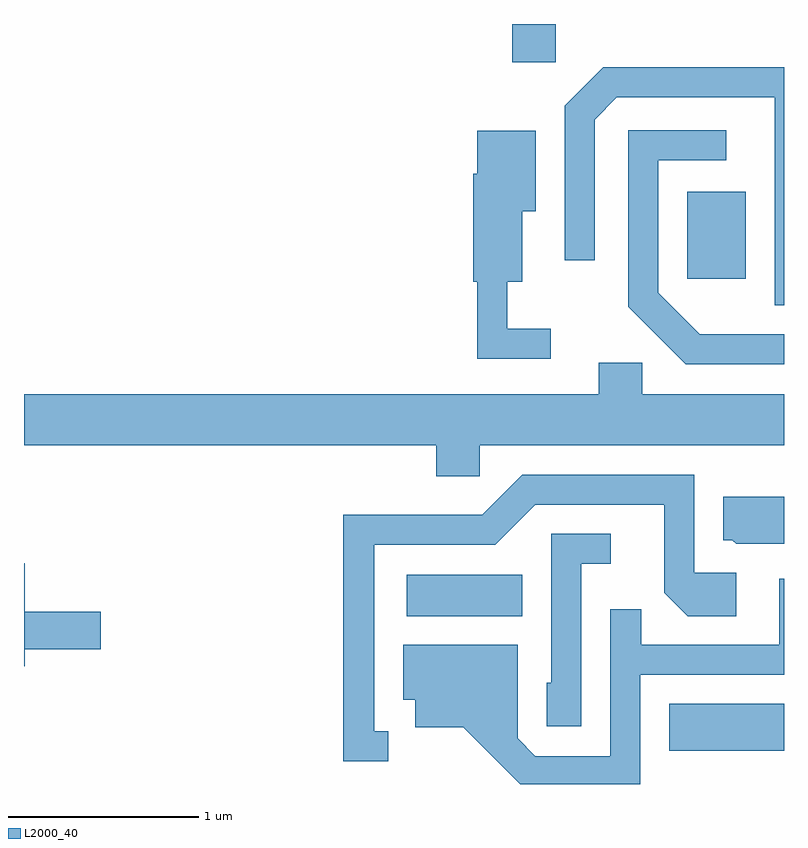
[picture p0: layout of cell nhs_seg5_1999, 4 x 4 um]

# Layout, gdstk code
import gdstk
lib = gdstk.Library(unit=1e-6, precision=1e-09)
def R(c, l, rs):  # rectangles x0, y0, x1, y1
    for r in rs: c.add(gdstk.rectangle(r[:2], r[2:], *l))
def P(c, l, *ps):  # polygons
    for p in ps: c.add(gdstk.Polygon(p, *l))
L2000_40 = (2000, 40)

nhs_seg5_1999 = lib.new_cell('nhs_seg5_1999')
R(nhs_seg5_1999, L2000_40, [(247.006,1506.246,247.611,1506.494), (245.626,1506.956,246.234,1507.174), (247.101,1508.731,247.409,1509.189), (246.181,1509.871,246.409,1510.072)])
P(nhs_seg5_1999, L2000_40, [(247.611,1509.844),(246.659,1509.844),(246.456,1509.642),(246.456,1508.828),(246.614,1508.828),(246.614,1509.569),(246.732,1509.686),(247.561,1509.686),(247.561,1508.591),(247.611,1508.591)],
  [(247.611,1508.439),(247.167,1508.439),(246.949,1508.657),(246.949,1509.356),(247.308,1509.356),(247.308,1509.514),(246.791,1509.514),(246.791,1508.584),(247.094,1508.281),(247.611,1508.281)],
  [(246.383,1508.469),(246.154,1508.469),(246.154,1508.716),(246.234,1508.716),(246.234,1509.086),(246.304,1509.086),(246.304,1509.509),(245.996,1509.509),(245.996,1509.284),(245.976,1509.284),(245.976,1508.716),(245.996,1508.716),(245.996,1508.311),(246.383,1508.311)],
  [(246.009,1507.856),(247.611,1507.856),(247.611,1508.124),(246.864,1508.124),(246.864,1508.289),(246.636,1508.289),(246.636,1508.124),(243.611,1508.124),(243.611,1507.856),(245.781,1507.856),(245.781,1507.691),(246.009,1507.691)],
  [(245.528,1506.349),(245.454,1506.349),(245.454,1507.331),(246.092,1507.331),(246.302,1507.541),(246.981,1507.541),(246.981,1507.079),(247.104,1506.956),(247.359,1506.956),(247.359,1507.184),(247.139,1507.184),(247.139,1507.699),(246.234,1507.699),(246.024,1507.489),(245.291,1507.489),(245.291,1506.191),(245.528,1506.191)],
  [(247.611,1507.584),(247.291,1507.584),(247.291,1507.356),(247.339,1507.356),(247.359,1507.336),(247.611,1507.336)],
  [(246.544,1507.231),(246.698,1507.231),(246.698,1507.389),(246.386,1507.389),(246.386,1506.604),(246.361,1506.604),(246.361,1506.376),(246.544,1506.376)],
  [(243.614,1506.781),(244.014,1506.781),(244.014,1506.979),(243.614,1506.979),(243.614,1507.234),(243.611,1507.234),(243.611,1506.691),(243.614,1506.691)],
  [(246.854,1506.646),(247.611,1506.646),(247.611,1507.153),(247.586,1507.153),(247.586,1506.804),(246.859,1506.804),(246.859,1506.993),(246.696,1506.993),(246.696,1506.219),(246.302,1506.219),(246.209,1506.312),(246.209,1506.804),(245.606,1506.804),(245.606,1506.516),(245.671,1506.516),(245.671,1506.371),(245.924,1506.371),(246.223,1506.072),(246.854,1506.072)])

lib.write_gds('nhs_seg5_1999.gds')
